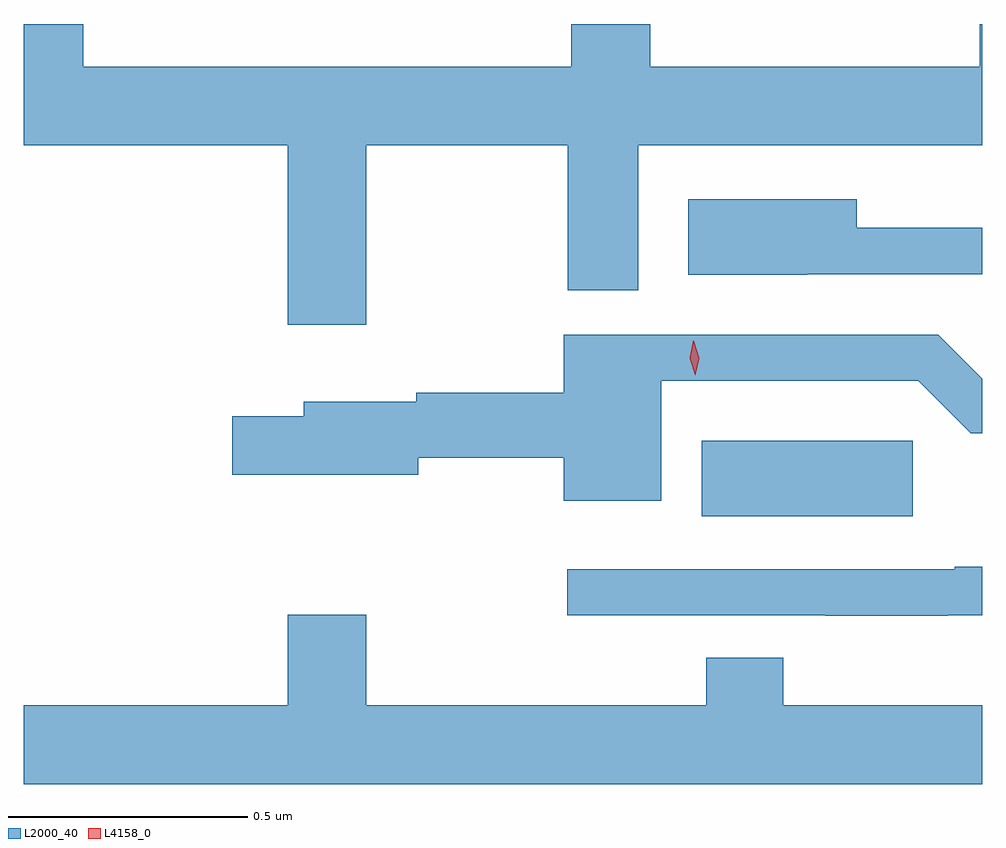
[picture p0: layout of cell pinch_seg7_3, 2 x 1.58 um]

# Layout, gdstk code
import gdstk
lib = gdstk.Library(unit=1e-6, precision=1e-09)
def R(c, l, rs):  # rectangles x0, y0, x1, y1
    for r in rs: c.add(gdstk.rectangle(r[:2], r[2:], *l))
def P(c, l, *ps):  # polygons
    for p in ps: c.add(gdstk.Polygon(p, *l))
L2000_40 = (2000, 40)
L4158_0 = (4158, 0)

pinch_seg7_3 = lib.new_cell('pinch_seg7_3')
R(pinch_seg7_3, L2000_40, [(1040.996,1051.79,1041.436,1051.948)])
P(pinch_seg7_3, L2000_40, [(1040.296,1052.564),(1040.716,1052.564),(1040.716,1052.262),(1040.863,1052.262),(1040.863,1052.564),(1041.581,1052.564),(1041.581,1052.817),(1041.575,1052.817),(1041.575,1052.728),(1040.888,1052.728),(1040.888,1052.817),(1040.723,1052.817),(1040.723,1052.728),(1039.706,1052.728),(1039.706,1052.817),(1039.581,1052.817),(1039.581,1052.564),(1040.132,1052.564),(1040.132,1052.19),(1040.296,1052.19)],
  [(1041.215,1052.295),(1041.581,1052.295),(1041.581,1052.392),(1041.319,1052.392),(1041.319,1052.452),(1040.967,1052.452),(1040.967,1052.294),(1041.215,1052.294)],
  [(1040.911,1052.073),(1041.447,1052.073),(1041.557,1051.963),(1041.581,1051.963),(1041.581,1052.077),(1041.489,1052.169),(1040.708,1052.169),(1040.708,1052.048),(1040.4,1052.048),(1040.4,1052.029),(1040.165,1052.029),(1040.165,1051.999),(1040.016,1051.999),(1040.016,1051.877),(1040.404,1051.877),(1040.404,1051.912),(1040.708,1051.912),(1040.708,1051.823),(1040.911,1051.823)],
  [(1041.509,1051.584),(1041.581,1051.584),(1041.581,1051.685),(1041.523,1051.685),(1041.523,1051.68),(1040.715,1051.68),(1040.715,1051.584),(1041.253,1051.584),(1041.253,1051.583),(1041.509,1051.583)],
  [(1041.581,1051.396),(1041.165,1051.396),(1041.165,1051.495),(1041.005,1051.495),(1041.005,1051.396),(1040.296,1051.396),(1040.296,1051.585),(1040.132,1051.585),(1040.132,1051.396),(1039.581,1051.396),(1039.581,1051.232),(1041.581,1051.232)])
P(pinch_seg7_3, L4158_0, [(1040.982,1052.084),(1040.982,1052.084),(1040.97,1052.12),(1040.978,1052.156),(1040.979,1052.156),(1040.979,1052.156),(1040.99,1052.12),(1040.982,1052.084)])

lib.write_gds('pinch_seg7_3.gds')
